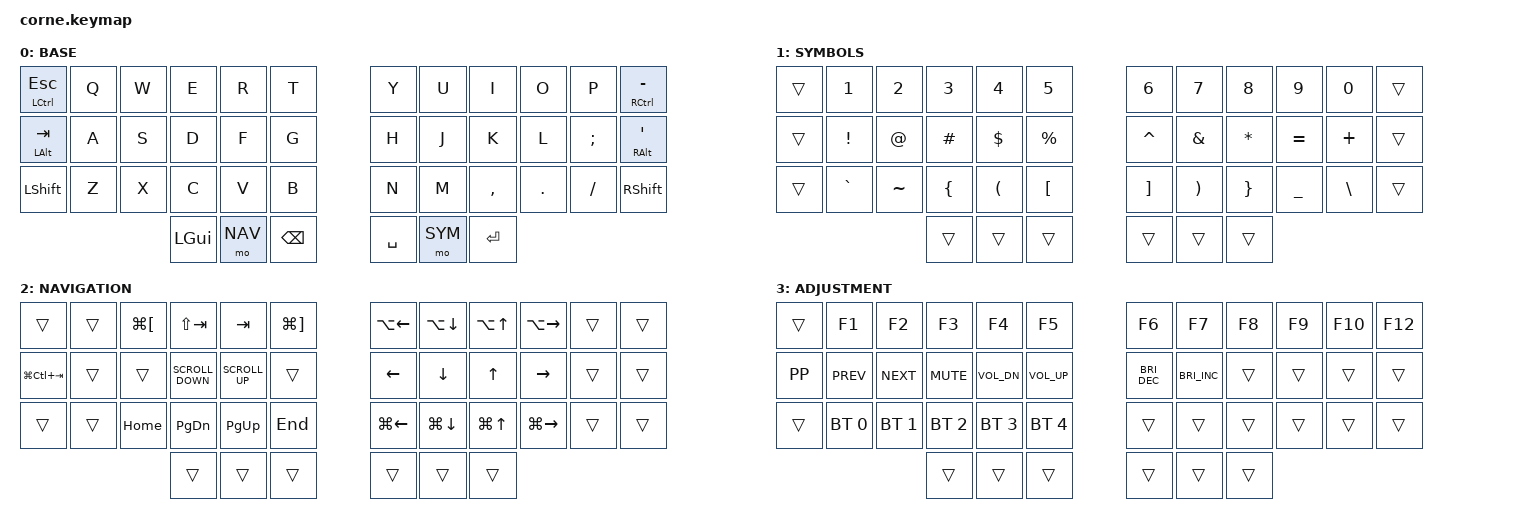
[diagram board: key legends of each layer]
/*
 * Copyright (c) 2020 The ZMK Contributors
 *
 * SPDX-License-Identifier: MIT
 */

#include <behaviors.dtsi>
#include <dt-bindings/zmk/keys.h>
#include <dt-bindings/zmk/bt.h>

#define DEF 0
#define SYM 1
#define NAV 2
#define ADJ 3

/ {
        combos {
            compatible = "zmk,combos";

            Clear_BLE_Profile {
            bindings = <&bt BT_CLR>;
            key-positions = <0 38 5>;
            };

            Space {
            bindings = <&kp SPACE>;
            key-positions = <29 28>;
            };

            Enter {
            bindings = <&kp ENTER>;
            key-positions = <17 16>;
            };

        };
        keymap {
                compatible = "zmk,keymap";

                base_layer {
                        label = "BASE";
                        bindings = <
   &mt LCTRL ESC &kp Q &kp W &kp E &kp R &kp T   &kp Y &kp U  &kp I     &kp O   &kp P    &mt RCTRL MINUS
   &mt LALT TAB  &kp A &kp S &kp D &kp F &kp G   &kp H &kp J  &kp K     &kp L   &kp SEMI &mt RALT SQT
   &kp LSHFT     &kp Z &kp X &kp C &kp V &kp B   &kp N &kp M  &kp COMMA &kp DOT &kp FSLH &kp RSHIFT
                  &kp LEFT_GUI  &mo NAV &kp BSPC   &kp SPACE &mo SYM &kp RET
                        >;
                };
                symbols_layer {
                        label = "SYMBOLS";
                        bindings = <
&trans   &kp N1    &kp N2  &kp N3    &kp N4    &kp N5     &kp N6    &kp N7  &kp N8    &kp N9    &kp N0  &trans
&trans  &kp EXCL  &kp AT  &kp HASH  &kp DLLR  &kp PRCNT    &kp CARET  &kp AMPS   &kp ASTERISK          &kp EQUAL  &kp PLUS      &trans
&trans  &kp GRAVE  &kp TILDE      &kp LEFT_BRACE   &kp LPAR      &kp LEFT_BRACKET  &kp RIGHT_BRACKET     &kp RPAR        &kp RIGHT_BRACE     &kp UNDERSCORE      &kp BACKSLASH &trans
                           &trans    &trans    &trans       &trans     &trans     &trans
                        >;
                };

                navigation_layer {
                        label = "NAVIGATION";
                        bindings = <
&trans          &trans  &kp LG(LEFT_BRACKET)  &kp LS(TAB)        &kp TAB          &kp LG(RIGHT_BRACKET)    &kp LA(LEFT)       &kp LA(DOWN)  &kp LA(UP)  &kp LA(RIGHT)  &trans  &trans
&kp LG(LC(TAB))           &trans  &trans                &kp K_SCROLL_DOWN  &kp K_SCROLL_UP  &trans                   &kp LEFT           &kp DOWN      &kp UP      &kp RIGHT      &trans  &trans
&trans  &trans  &kp HOME              &kp PG_DN          &kp PG_UP        &kp END                  &kp LG(LEFT)       &kp LG(DOWN)  &kp LG(UP)  &kp LG(RIGHT)  &trans  &trans
                                               &trans             &trans           &trans                   &trans  &trans        &trans
                        >;
                };
                adjustment_layer {
                        label = "ADJUSTMENT";
                        bindings = <
&trans  &kp F1        &kp F2        &kp F3        &kp F4        &kp F5          &kp F6           &kp F7           &kp F8           &kp F9                &kp F10               &kp F12
&kp K_PP  &kp K_PREV        &kp K_NEXT     &kp K_MUTE    &kp C_VOL_DN  &kp C_VOL_UP     &kp C_BRIGHTNESS_DEC  &kp C_BRIGHTNESS_INC  &trans &trans &trans           &trans
&trans  &bt BT_SEL 0  &bt BT_SEL 1  &bt BT_SEL 2  &bt BT_SEL 3  &bt BT_SEL 4     &trans        &trans          &trans           &trans           &trans  &trans
                                    &trans        &trans        &trans          &trans           &trans           &trans
                        >;
                };
        };

        conditional_layers {
            compatible = "zmk,conditional-layers";

            Activate_EXT {
            if-layers = <SYM NAV>;
            then-layer = <ADJ>;
            };
        };
};
